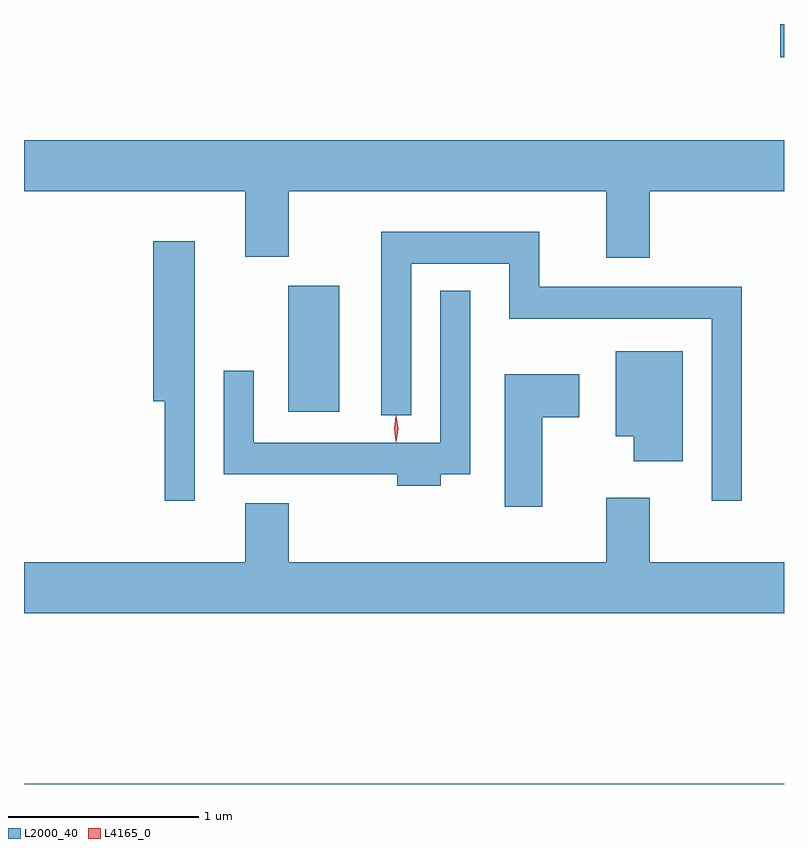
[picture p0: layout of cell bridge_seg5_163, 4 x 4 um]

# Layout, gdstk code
import gdstk
lib = gdstk.Library(unit=1e-6, precision=1e-09)
def R(c, l, rs):  # rectangles x0, y0, x1, y1
    for r in rs: c.add(gdstk.rectangle(r[:2], r[2:], *l))
def P(c, l, *ps):  # polygons
    for p in ps: c.add(gdstk.Polygon(p, *l))
L2000_40 = (2000, 40)
L4165_0 = (4165, 0)

bridge_seg5_163 = lib.new_cell('bridge_seg5_163')
R(bridge_seg5_163, L2000_40, [(1182.166,1422.597,1186.166,1422.599), (1183.556,1424.556,1183.824,1425.219), (1186.146,1426.421,1186.166,1426.597)])
P(bridge_seg5_163, L2000_40, [(1185.459,1425.716),(1186.166,1425.716),(1186.166,1425.984),(1182.166,1425.984),(1182.166,1425.716),(1183.331,1425.716),(1183.331,1425.371),(1183.559,1425.371),(1183.559,1425.716),(1185.231,1425.716),(1185.231,1425.366),(1185.459,1425.366)],
  [(1185.944,1425.214),(1184.879,1425.214),(1184.879,1425.504),(1184.046,1425.504),(1184.046,1424.538),(1184.204,1424.538),(1184.204,1425.336),(1184.721,1425.336),(1184.721,1425.046),(1185.786,1425.046),(1185.786,1424.088),(1185.944,1424.088)],
  [(1183.064,1425.454),(1182.846,1425.454),(1182.846,1424.611),(1182.906,1424.611),(1182.906,1424.088),(1183.064,1424.088)],
  [(1184.359,1424.226),(1184.514,1424.226),(1184.514,1425.193),(1184.356,1425.193),(1184.356,1424.394),(1183.374,1424.394),(1183.374,1424.773),(1183.216,1424.773),(1183.216,1424.226),(1184.131,1424.226),(1184.131,1424.166),(1184.359,1424.166)],
  [(1185.634,1424.874),(1185.281,1424.874),(1185.281,1424.426),(1185.376,1424.426),(1185.376,1424.296),(1185.634,1424.296)],
  [(1184.894,1424.526),(1185.089,1424.526),(1185.089,1424.754),(1184.696,1424.754),(1184.696,1424.056),(1184.894,1424.056)],
  [(1186.166,1423.764),(1185.459,1423.764),(1185.459,1424.104),(1185.231,1424.104),(1185.231,1423.764),(1183.559,1423.764),(1183.559,1424.074),(1183.331,1424.074),(1183.331,1423.764),(1182.166,1423.764),(1182.166,1423.496),(1186.166,1423.496)])
P(bridge_seg5_163, L4165_0, [(1184.124,1424.399),(1184.123,1424.4),(1184.114,1424.466),(1184.123,1424.532),(1184.124,1424.533),(1184.124,1424.532),(1184.134,1424.466),(1184.124,1424.4)],
  [(1184.124,1424.397),(1184.115,1424.466),(1184.124,1424.536),(1184.125,1424.536),(1184.126,1424.536),(1184.135,1424.466),(1184.126,1424.397),(1184.125,1424.397)])

lib.write_gds('bridge_seg5_163.gds')
